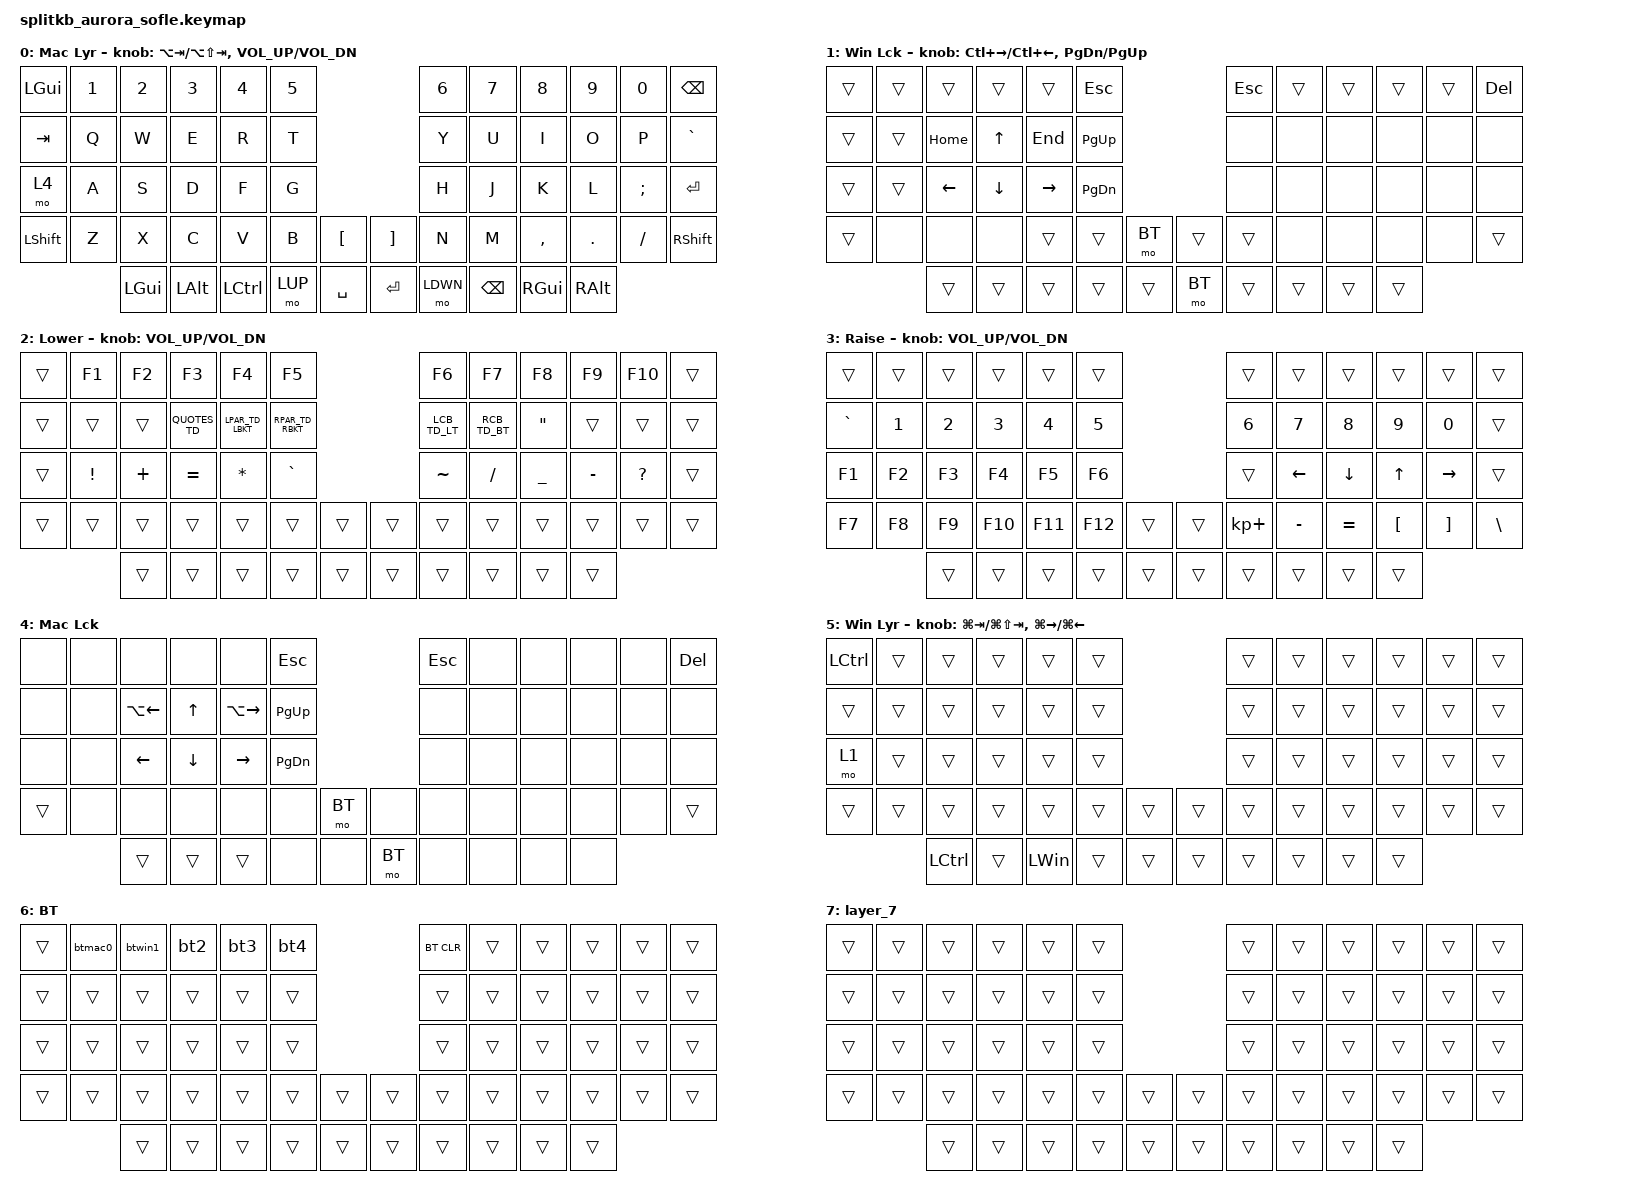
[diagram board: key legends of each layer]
/*
 * Copyright (c) 2023 The ZMK Contributors
 *
 * SPDX-License-Identifier: MIT
 */

#include <behaviors.dtsi>
#include <dt-bindings/zmk/bt.h>
#include <dt-bindings/zmk/keys.h>

#define MAC 0
#define MLCK 1
#define LUP  2
#define LDWN 3
#define WLCK 4
#define WLYR 5
#define BT 6

/* Uncomment this block if using RGB
&led_strip {
    chain-length = <6>;
    // chain-length = <35>; // Uncomment if using both per-key and underglow LEDs
    // chain-length = <29>; // Uncomment if using only per-key LEDs.
};
 */

/ {
    macros {
        btmac0: btmac0 {
            compatible = "zmk,behavior-macro";
            label = "BTMAC0";
            #binding-cells = <0>;
            bindings = <&bt BT_SEL 0 &to 0>;
        };

        btwin1: btwin1 {
            compatible = "zmk,behavior-macro";
            label = "BTWIN1";
            #binding-cells = <0>;
            bindings = <&bt BT_SEL 1 &to 5>;
        };

        bt2: bt2 {
            compatible = "zmk,behavior-macro";
            label = "BT2";
            #binding-cells = <0>;
            bindings = <&bt BT_SEL 2 &to 5>;
        };

        bt3: bt3 {
            compatible = "zmk,behavior-macro";
            label = "BT3";
            #binding-cells = <0>;
            bindings = <&bt BT_SEL 3 &to 0>;
        };

        bt4: bt4 {
            compatible = "zmk,behavior-macro";
            label = "BT4";
            #binding-cells = <0>;
            bindings = <&bt BT_SEL 4 &to 0>;
        };
    };

    behaviors {
        RPAR_TD_RBKT: RPAR_TD_RBKT {
            compatible = "zmk,behavior-tap-dance";
            label = "RPAR_TD_RBKT";
            #binding-cells = <0>;
            bindings = <&kp RPAR>, <&kp RBKT>;
        };

        LPAR_TD_LBKT: LPAR_TD_LBKT {
            compatible = "zmk,behavior-tap-dance";
            label = "LPAR_TD_LBKT";
            #binding-cells = <0>;
            bindings = <&kp LPAR>, <&kp LBKT>;
        };

        LCB_TD_LT: LCB_TD_LT {
            compatible = "zmk,behavior-tap-dance";
            label = "LCB_TD_LT";
            #binding-cells = <0>;
            bindings = <&kp LBRC>, <&kp LT>;
        };

        RCB_TD_BT: RCB_TD_BT {
            compatible = "zmk,behavior-tap-dance";
            label = "RCB_TD_BT";
            #binding-cells = <0>;
            bindings = <&kp RBRC>, <&kp GT>;
        };

        QUOTES_TD: QUOTES_TD {
            compatible = "zmk,behavior-tap-dance";
            label = "QUOTES_TD";
            #binding-cells = <0>;
            bindings = <&kp SINGLE_QUOTE>, <&kp DOUBLE_QUOTES>;
        };
    };

    keymap {
        compatible = "zmk,keymap";

        default_layer {
            // ------------------------------------------------------------------------------------------------------------
            // |  ESC  |  1  |  2  |  3   |  4   |  5   |                   |  6   |  7    |  8    |  9   |   0   |   `   |
            // |  CLAY |  Q  |  W  |  E   |  R   |  T   |                   |  Y   |  U    |  I    |  O   |   P   |   -   |
            // |  CTRL |  A  |  S  |  D   |  F   |  G   |                   |  H   |  J    |  K    |  L   |   ;   |   '   |
            // | SHIFT |  Z  |  X  |  C   |  V   |  B   |   "["  |  |  "]"  |  N   |  M    |  ,    |  .   |   /   | SHIFT |
            //               |CTRL | ALT  | GUI  | LOWER|  SPACE |  | ENTER | RAISE| BSPC  | GUI   | RALT |

            bindings = <
&kp LGUI   &kp N1  &kp N2    &kp N3    &kp N4     &kp N5                          &kp N6    &kp N7    &kp N8     &kp N9    &kp N0    &kp BSPC
&kp TAB    &kp Q   &kp W     &kp E     &kp R      &kp T                           &kp Y     &kp U     &kp I      &kp O     &kp P     &kp GRAVE
&mo 4      &kp A   &kp S     &kp D     &kp F      &kp G                           &kp H     &kp J     &kp K      &kp L     &kp SEMI  &kp ENTER
&kp LSHFT  &kp Z   &kp X     &kp C     &kp V      &kp B    &kp LBKT     &kp RBKT  &kp N     &kp M     &kp COMMA  &kp DOT   &kp FSLH  &kp RSHFT
                   &kp LGUI  &kp LALT  &kp LCTRL  &mo LUP  &kp SPACE    &kp RET   &mo LDWN  &kp BSPC  &kp RGUI   &kp RALT
            >;

            sensor-bindings =
                <&inc_dec_kp LA(TAB) LA(LS(TAB))>,
                <&inc_dec_kp C_VOLUME_UP C_VOL_DN>;

            label = "Mac Lyr";
        };

        win_capslock_layer {
            // ------------------------------------------------------------------------------------------------------------
            // | BTCLR | BT1 | BT2 |  BT3 |  BT4 |  BT5 |                   |      |       |       |      |       |       |
            // |  F1   |  F2 |  F3 |  F4  |  F5  |  F6  |                   |  F7  |  F8   |  F9   |  F10 |  F11  |  F12  |
            // |   `   |  !  |  @  |  #   |  $   |  %   |                   |  ^   |  &    |  *    |  (   |   )   |   ~   |
            // |       |     |     |      |      |      |        |  |       |      |  _    |  +    |  {   |   }   |  "|"  |
            //               |     |      |      |      |        |  |       |      |       |       |      |

            bindings = <
&trans  &trans  &trans    &trans    &trans     &kp ESC                      &kp ESC  &trans  &trans  &trans  &trans  &kp DELETE
&trans  &trans  &kp HOME  &kp UP    &kp END    &kp PG_UP                    &none    &none   &none   &none   &none   &none
&trans  &trans  &kp LEFT  &kp DOWN  &kp RIGHT  &kp PG_DN                    &none    &none   &none   &none   &none   &none
&trans  &none   &none     &none     &trans     &trans     &mo BT    &trans  &trans   &none   &none   &none   &none   &trans
                &trans    &trans    &trans     &trans     &trans    &mo BT  &trans   &trans  &trans  &trans
            >;

            sensor-bindings =
                <&inc_dec_kp LC(RIGHT) LC(LEFT)>,
                <&inc_dec_kp PAGE_DOWN PAGE_UP>;

            label = "Win Lck";
        };

        lower_layer {
            // ------------------------------------------------------------------------------------------------------------
            // | BTCLR | BT1 | BT2 |  BT3 |  BT4 |  BT5 |                   |      |       |       |      |       |       |
            // |  F1   |  F2 |  F3 |  F4  |  F5  |  F6  |                   |  F7  |  F8   |  F9   |  F10 |  F11  |  F12  |
            // |   `   |  !  |  @  |  #   |  $   |  %   |                   |  ^   |  &    |  *    |  (   |   )   |   ~   |
            // |       |     |     |      |      |      |        |  |       |      |  _    |  +    |  {   |   }   |  "|"  |
            //               |     |      |      |      |        |  |       |      |       |       |      |

            bindings = <
&trans  &kp F1    &kp F2    &kp F3      &kp F4         &kp F5                           &kp F6      &kp F7      &kp F8             &kp F9     &kp F10    &trans
&trans  &trans    &trans    &QUOTES_TD  &LPAR_TD_LBKT  &RPAR_TD_RBKT                    &LCB_TD_LT  &RCB_TD_BT  &kp DOUBLE_QUOTES  &trans     &trans     &trans
&trans  &kp EXCL  &kp PLUS  &kp EQUAL   &kp STAR       &kp GRAVE                        &kp TILDE   &kp FSLH    &kp UNDER          &kp MINUS  &kp QMARK  &trans
&trans  &trans    &trans    &trans      &trans         &trans         &trans    &trans  &trans      &trans      &trans             &trans     &trans     &trans
                  &trans    &trans      &trans         &trans         &trans    &trans  &trans      &trans      &trans             &trans
            >;

            sensor-bindings = <&inc_dec_kp C_VOL_UP C_VOL_DN>;
            label = "Lower";
        };

        raise_layer {
            // ------------------------------------------------------------------------------------------------------------
            // |       |     |     |      |      |      |                   |      |       |       |      |       |       |
            // |   `   |  1  |  2  |  3   |  4   |  5   |                   |  6   |   7   |   8   |  9   |   0   |       |
            // |   F1  |  F2 |  F3 |  F4  |  F5  |  F6  |                   |      |   <-  |   v   |  ^   |  ->   |       |
            // |   F7  |  F8 |  F9 |  F10 |  F11 |  F12 |        |  |       |  +   |   -   |   =   |  [   |   ]   |   \   |
            //               |     |      |      |      |        |  |       |      |       |       |      |

            bindings = <
&trans     &trans  &trans  &trans   &trans   &trans                     &trans       &trans     &trans     &trans    &trans     &trans
&kp GRAVE  &kp N1  &kp N2  &kp N3   &kp N4   &kp N5                     &kp N6       &kp N7     &kp N8     &kp N9    &kp N0     &trans
&kp F1     &kp F2  &kp F3  &kp F4   &kp F5   &kp F6                     &trans       &kp LEFT   &kp DOWN   &kp UP    &kp RIGHT  &trans
&kp F7     &kp F8  &kp F9  &kp F10  &kp F11  &kp F12  &trans    &trans  &kp KP_PLUS  &kp MINUS  &kp EQUAL  &kp LBKT  &kp RBKT   &kp BSLH
                   &trans  &trans   &trans   &trans   &trans    &trans  &trans       &trans     &trans     &trans
            >;

            sensor-bindings = <&inc_dec_kp C_VOL_UP C_VOL_DN>;
            label = "Raise";
        };

        mac_capslock_layer {
            bindings = <
&none   &none  &none         &none     &none          &kp ESC                          &kp ESC  &none  &none  &none  &none  &kp DEL
&none   &none  &kp LA(LEFT)  &kp UP    &kp LA(RIGHT)  &kp PG_UP                        &none    &none  &none  &none  &none  &none
&none   &none  &kp LEFT      &kp DOWN  &kp RIGHT      &kp PAGE_DOWN                    &none    &none  &none  &none  &none  &none
&trans  &none  &none         &none     &none          &none          &mo BT    &none   &none    &none  &none  &none  &none  &trans
               &trans        &trans    &trans         &none          &none     &mo BT  &none    &none  &none  &none
            >;

            label = "Mac Lck";
        };

        win_overlay_layer {
            bindings = <
&kp LEFT_CONTROL  &trans  &trans            &trans  &trans        &trans                    &trans  &trans  &trans  &trans  &trans  &trans
&trans            &trans  &trans            &trans  &trans        &trans                    &trans  &trans  &trans  &trans  &trans  &trans
&mo 1             &trans  &trans            &trans  &trans        &trans                    &trans  &trans  &trans  &trans  &trans  &trans
&trans            &trans  &trans            &trans  &trans        &trans  &trans    &trans  &trans  &trans  &trans  &trans  &trans  &trans
                          &kp LEFT_CONTROL  &trans  &kp LEFT_WIN  &trans  &trans    &trans  &trans  &trans  &trans  &trans
            >;

            label = "Win Lyr";
            sensor-bindings =
                <&inc_dec_kp LG(TAB) LG(LS(TAB))>,
                <&inc_dec_kp LG(RIGHT_ARROW) LG(LEFT_ARROW)>;
        };

        BT_layer {
            bindings = <
&trans  &btmac0  &btwin1  &bt2    &bt3    &bt4                      &bt BT_CLR  &trans  &trans  &trans  &trans  &trans
&trans  &trans   &trans   &trans  &trans  &trans                    &trans      &trans  &trans  &trans  &trans  &trans
&trans  &trans   &trans   &trans  &trans  &trans                    &trans      &trans  &trans  &trans  &trans  &trans
&trans  &trans   &trans   &trans  &trans  &trans  &trans    &trans  &trans      &trans  &trans  &trans  &trans  &trans
                 &trans   &trans  &trans  &trans  &trans    &trans  &trans      &trans  &trans  &trans
            >;

            label = "BT";
        };

        layer_7 {
            bindings = <
&trans  &trans  &trans  &trans  &trans  &trans                    &trans  &trans  &trans  &trans  &trans  &trans
&trans  &trans  &trans  &trans  &trans  &trans                    &trans  &trans  &trans  &trans  &trans  &trans
&trans  &trans  &trans  &trans  &trans  &trans                    &trans  &trans  &trans  &trans  &trans  &trans
&trans  &trans  &trans  &trans  &trans  &trans  &trans    &trans  &trans  &trans  &trans  &trans  &trans  &trans
                &trans  &trans  &trans  &trans  &trans    &trans  &trans  &trans  &trans  &trans
            >;
        };
    };
};
